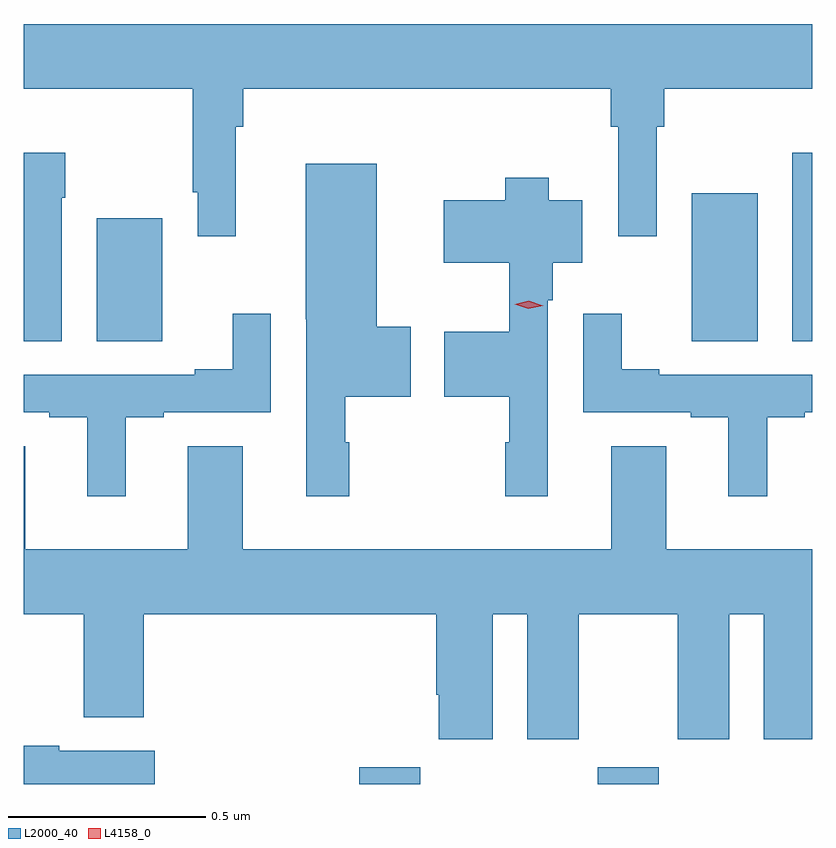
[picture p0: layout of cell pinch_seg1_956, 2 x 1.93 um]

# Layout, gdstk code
import gdstk
lib = gdstk.Library(unit=1e-6, precision=1e-09)
def R(c, l, rs):  # rectangles x0, y0, x1, y1
    for r in rs: c.add(gdstk.rectangle(r[:2], r[2:], *l))
def P(c, l, *ps):  # polygons
    for p in ps: c.add(gdstk.Polygon(p, *l))
L2000_40 = (2000, 40)
L4158_0 = (4158, 0)

pinch_seg1_956 = lib.new_cell('pinch_seg1_956')
R(pinch_seg1_956, L2000_40, [(184.454,573.945,184.609,573.988), (185.059,573.945,185.214,573.988), (183.788,575.068,183.955,575.38), (185.297,575.068,185.464,575.443), (185.552,575.068,185.603,575.545)])
P(pinch_seg1_956, L2000_40, [(184.141,575.612),(184.16,575.612),(184.16,575.708),(185.092,575.708),(185.092,575.612),(185.111,575.612),(185.111,575.334),(185.208,575.334),(185.208,575.612),(185.228,575.612),(185.228,575.708),(185.603,575.708),(185.603,575.872),(183.603,575.872),(183.603,575.708),(184.032,575.708),(184.032,575.446),(184.044,575.446),(184.044,575.334),(184.141,575.334)],
  [(183.7,575.432),(183.708,575.432),(183.708,575.545),(183.603,575.545),(183.603,575.068),(183.7,575.068)],
  [(184.429,574.812),(184.419,574.812),(184.419,574.927),(184.584,574.927),(184.584,575.105),(184.498,575.105),(184.498,575.518),(184.319,575.518),(184.319,575.124),(184.32,575.124),(184.32,574.674),(184.429,574.674)],
  [(184.932,575.171),(184.945,575.171),(184.945,575.267),(185.02,575.267),(185.02,575.425),(184.934,575.425),(184.934,575.482),(184.824,575.482),(184.824,575.425),(184.668,575.425),(184.668,575.267),(184.834,575.267),(184.834,575.092),(184.669,575.092),(184.669,574.927),(184.834,574.927),(184.834,574.812),(184.824,574.812),(184.824,574.674),(184.932,574.674)],
  [(183.862,574.875),(183.958,574.875),(183.958,574.887),(184.23,574.887),(184.23,575.137),(184.133,575.137),(184.133,574.996),(184.037,574.996),(184.037,574.983),(183.603,574.983),(183.603,574.887),(183.668,574.887),(183.668,574.875),(183.764,574.875),(183.764,574.674),(183.862,574.674)],
  [(185.488,574.875),(185.584,574.875),(185.584,574.887),(185.603,574.887),(185.603,574.983),(185.215,574.983),(185.215,574.996),(185.119,574.996),(185.119,575.137),(185.022,575.137),(185.022,574.887),(185.294,574.887),(185.294,574.875),(185.39,574.875),(185.39,574.674),(185.488,574.674)],
  [(184.792,574.376),(184.88,574.376),(184.88,574.059),(185.011,574.059),(185.011,574.376),(185.261,574.376),(185.261,574.059),(185.392,574.059),(185.392,574.376),(185.48,574.376),(185.48,574.059),(185.603,574.059),(185.603,574.54),(185.233,574.54),(185.233,574.802),(185.093,574.802),(185.093,574.54),(184.159,574.54),(184.159,574.802),(184.019,574.802),(184.019,574.54),(183.607,574.54),(183.607,574.802),(183.603,574.802),(183.603,574.376),(183.755,574.376),(183.755,574.114),(183.908,574.114),(183.908,574.376),(184.649,574.376),(184.649,574.171),(184.655,574.171),(184.655,574.059),(184.792,574.059)],
  [(183.935,574.029),(183.694,574.029),(183.694,574.042),(183.603,574.042),(183.603,573.945),(183.935,573.945)])
P(pinch_seg1_956, L4158_0, [(184.883,575.15),(184.848,575.162),(184.848,575.162),(184.848,575.162),(184.884,575.17),(184.92,575.158),(184.92,575.158),(184.92,575.157)])

lib.write_gds('pinch_seg1_956.gds')
